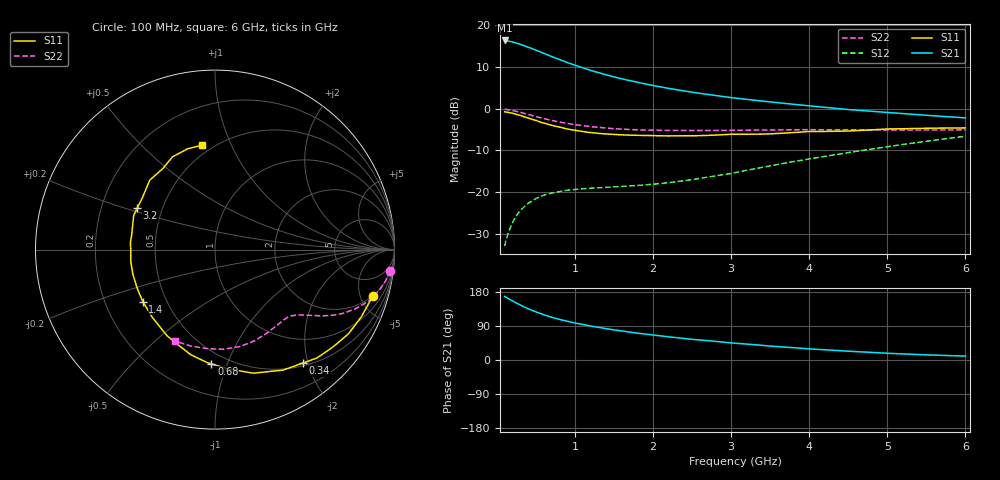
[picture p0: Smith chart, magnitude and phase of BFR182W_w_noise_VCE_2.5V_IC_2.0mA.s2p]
! Infineon Technologies  Discrete & RF Semiconductors
! BFR182W
! VCE =  2.5 V,  IC =  2.0 mA
! Common Emitter S-Parameters:  Nov 2015
# GHz  S  MA  R  50
!  f  S11  S21  S12  S22
! GHz  MAG  ANG  MAG  ANG  MAG  ANG  MAG  ANG
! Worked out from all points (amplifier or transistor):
!   192 points, 100 MHz to 6 GHz, reference 50 ohm
!   highest |S21| = 16.3 dB at 100 MHz (marker M1)
!   |S21| within 3 dB of that: start of sweep to 590.1 MHz
!   unconditionally stable (mu >= 1): 1.803 GHz to 3.141 GHz
!   at 440 MHz: K = 0.29, MSG = 18.4 dB, |S12| = -22.3 dB
!   at 1.7 GHz: K = 0.96, MSG = 12.6 dB, |S12| = -18.6 dB
!   at 6 GHz: K = 0.76, MSG = 2.2 dB, |S12| = -6.7 dB
!   lowest NFmin = 1.10 dB at 450 MHz
!   S11 on the Smith chart (normalised r, x): 100 MHz: 1.95, -6.31; 340 MHz: 0.55, -1.92; 680 MHz: 0.41, -0.88; 1.4 GHz: 0.37, -0.28; 3.2 GHz: 0.36, +0.22; 6 GHz: 0.44, +0.78
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0.1  0.9161 -16.5  6.56 167.7  0.0223 80.5  0.9828 -6.9
0.155  0.8949 -25.3  6.423 161.0  0.0338 75.6  0.9658 -10.5
0.24  0.8563 -38.2  6.15 151.4  0.0499 68.8  0.9296 -15.4
0.3  0.8284 -46.9  5.902 145.2  0.0596 64.6  0.9014 -18.6
0.34  0.8002 -52.1  5.71 141.4  0.0647 61.8  0.8802 -20.2
0.4  0.7712 -60.5  5.473 135.2  0.0727 58.4  0.8498 -22.8
0.5  0.7211 -72.7  5.024 126.9  0.0832 53.2  0.8014 -26.2
0.6  0.6693 -83.7  4.606 119.5  0.0912 49.3  0.7577 -28.8
0.68  0.6371 -91.8  4.285 114.2  0.0957 47.0  0.7282 -30.3
0.8  0.601 -103.0  3.878 107.2  0.1009 44.3  0.6889 -32.4
0.9  0.5689 -111.2  3.565 102.2  0.1047 42.8  0.6626 -33.6
1.1  0.5285 -125.6  3.085 93.9  0.1089 41.3  0.6234 -35.9
1.2  0.515 -132.5  2.869 89.6  0.1108 40.8  0.6063 -36.9
1.4  0.4957 -144.2  2.536 82.6  0.1134 41.4  0.5826 -38.7
1.72  0.4786 -159.8  2.145 73.2  0.1181 44.5  0.5591 -41.7
2.08  0.4712 -174.7  1.829 64.0  0.1256 49.3  0.5475 -45.8
2.5  0.471 171.0  1.568 54.5  0.1401 55.5  0.5449 -50.8
3.1  0.4908 154.6  1.32 43.6  0.1739 62.6  0.5482 -59.9
3.2  0.4909 152.1  1.289 42.0  0.1816 63.4  0.549 -61.5
4.1  0.5308 131.1  1.056 28.2  0.2576 65.5  0.5562 -77.3
5.1  0.57 112.7  0.884 17.0  0.3589 61.3  0.5522 -97.0
6  0.5858 97.2  0.772 10.3  0.4645 54.2  0.5559 -113.6
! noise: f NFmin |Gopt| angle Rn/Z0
0.45  1.1  0.42  29  0.36
0.9  1.2  0.4  58  0.3
1.8  1.85  0.32  126  0.22
